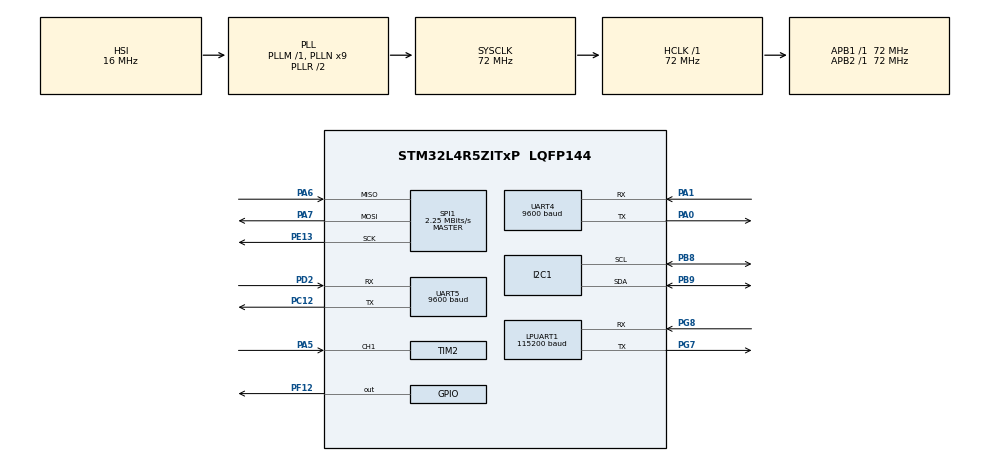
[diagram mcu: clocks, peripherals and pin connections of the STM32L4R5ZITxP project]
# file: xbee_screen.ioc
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FATFS._MAX_SS=4096
FATFS._USE_LFN=1
I2C1.CustomTiming=Disabled
I2C1.Timing=0x10C18DCC
LPUART1.BaudRate=115200
LPUART1.WordLength=UART_WORDLENGTH_8B
Mcu.Family=STM32L4
Mcu.Name=STM32L4R5ZITxP
Mcu.Package=LQFP144
NVIC.PriorityGroup=NVIC_PRIORITYGROUP_4
NVIC.UART4_IRQn=true\:0\:0\:false\:false\:true\:true\:true\:true
NVIC.UART5_IRQn=true\:0\:0\:false\:false\:true\:true\:true\:true
PA0.Mode=Asynchronous
PA0.Signal=UART4_TX
PA1.Mode=Asynchronous
PA1.Signal=UART4_RX
PA5.Signal=S_TIM2_CH1
PA6.Mode=Full_Duplex_Master
PA6.Signal=SPI1_MISO
PA7.Mode=Full_Duplex_Master
PA7.Signal=SPI1_MOSI
PB8.Mode=I2C
PB8.Signal=I2C1_SCL
PB9.Mode=I2C
PB9.Signal=I2C1_SDA
PC12.Mode=Asynchronous
PC12.Signal=UART5_TX
PC14-OSC32_IN\ (PC14).Mode=LSE-External-Oscillator
PC14-OSC32_IN\ (PC14).Signal=RCC_OSC32_IN
PC15-OSC32_OUT\ (PC15).Mode=LSE-External-Oscillator
PC15-OSC32_OUT\ (PC15).Signal=RCC_OSC32_OUT
PD2.Mode=Asynchronous
PD2.Signal=UART5_RX
PE13.Mode=Full_Duplex_Master
PE13.Signal=SPI1_SCK
PF12.Signal=GPIO_Output
PG7.Mode=Asynchronous
PG7.Signal=LPUART1_TX
PG8.Mode=Asynchronous
PG8.Signal=LPUART1_RX
PH0-OSC_IN\ (PH0).Mode=HSE-External-Oscillator
PH0-OSC_IN\ (PH0).Signal=RCC_OSC_IN
PH1-OSC_OUT\ (PH1).Mode=HSE-External-Oscillator
PH1-OSC_OUT\ (PH1).Signal=RCC_OSC_OUT
ProjectManager.HeapSize=0x200
ProjectManager.StackSize=0x400
ProjectManager.TargetToolchain=STM32CubeIDE
RCC.ADCFreq_Value=192000000
RCC.AHBFreq_Value=72000000
RCC.APB1Freq_Value=72000000
RCC.APB1TimFreq_Value=72000000
RCC.APB2Freq_Value=72000000
RCC.APB2TimFreq_Value=72000000
RCC.CortexFreq_Value=72000000
RCC.HCLKFreq_Value=72000000
RCC.HSE_VALUE=8000000
RCC.HSI48_VALUE=48000000
RCC.HSI_VALUE=16000000
RCC.MSIClockRange=RCC_MSIRANGE_9
RCC.MSI_VALUE=24000000
RCC.PLLN=9
RCC.PLLSAI1N=24
RCC.PLLSourceVirtual=RCC_PLLSOURCE_HSI
RCC.SYSCLKFreq_VALUE=72000000
RCC.SYSCLKSource=RCC_SYSCLKSOURCE_PLLCLK
RCC.USBFreq_Value=192000000
RCC.VCOOutputFreq_Value=144000000
SH.S_TIM2_CH1.0=TIM2_CH1,Input_Capture1_from_TI1
SPI1.BaudRatePrescaler=SPI_BAUDRATEPRESCALER_32
SPI1.CalculateBaudRate=2.25 MBits/s
SPI1.DataSize=SPI_DATASIZE_8BIT
SPI1.Direction=SPI_DIRECTION_2LINES
SPI1.Mode=SPI_MODE_MASTER
SPI1.VirtualType=VM_MASTER
TIM2.Channel-Input_Capture1_from_TI1=TIM_CHANNEL_1
TIM3.Channel-PWM\ Generation1\ No\ Output=TIM_CHANNEL_1
UART4.BaudRate=9600
UART5.BaudRate=9600
VP_FATFS_VS_Generic.Mode=User_defined
VP_TIM3_VS_no_output1.Mode=PWM Generation1 No Output
board=NUCLEO-L4R5ZI-P

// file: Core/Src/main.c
/* USER CODE BEGIN Header */
/**
  ******************************************************************************
  * @file           : main.c
  * @brief          : Main program body
  ******************************************************************************
  * @attention
  *
  * Copyright (c) 2025 STMicroelectronics.
  * All rights reserved.
  *
  * This software is licensed under terms that can be found in the LICENSE file
  * in the root directory of this software component.
  * If no LICENSE file comes with this software, it is provided AS-IS.
  *
  ******************************************************************************
  */
/* USER CODE END Header */
#include "main.h"
#include "fatfs.h"

/* USER CODE BEGIN Includes */
#include "stdio.h"
#include "math.h"
#include "string.h"
#include "fonts.h"
#include "oled_driver.h"
/* USER CODE END Includes */

I2C_HandleTypeDef hi2c1;

UART_HandleTypeDef hlpuart1;
UART_HandleTypeDef huart4;
UART_HandleTypeDef huart5;

SPI_HandleTypeDef hspi1;

TIM_HandleTypeDef htim2;
TIM_HandleTypeDef htim3;

/* USER CODE BEGIN PV */
uint8_t uart_buffer[32];
uint8_t xbee_buffer[32];
uint8_t xbee_int_buf[2];
volatile uint8_t xbee_int_ready = 0;
uint8_t r = 0;
static ledFrame;
char TxBuffer[250];
/* USER CODE END PV */

void SystemClock_Config(void);
static void MX_GPIO_Init(void);
static void MX_LPUART1_UART_Init(void);
static void MX_TIM2_Init(void);
static void MX_UART4_Init(void);
static void MX_UART5_Init(void);
static void MX_I2C1_Init(void);
static void MX_TIM3_Init(void);
static void MX_SPI1_Init(void);

/* USER CODE BEGIN 0 */

void MX_NVIC_Init(void)
{
    HAL_NVIC_SetPriority(UART5_IRQn, 0, 0);
    HAL_NVIC_EnableIRQ(UART5_IRQn);
}

int xbee_readline(char *buf, int maxlen)
{
    int i = 0;
    uint8_t ch;
    while (i < maxlen - 1) {
        if (HAL_UART_Receive(&huart5, &ch, 1, 500) != HAL_OK) {
            break;  // timeout
        }
        buf[i++] = ch;
        if (ch == '\r' || ch == '\n') break;
    }
    buf[i] = '\0';
    return i;
}

void xbee_send(const char* cmd) {
	HAL_UART_Transmit(&huart5, (uint8_t*)cmd, strlen(cmd), 100);
	HAL_UART_Transmit(&huart5, (uint8_t*)"\r", 1, 100);
}

uint8_t xbee_enter_command(void)
{
    uint8_t resp[8];
    HAL_StatusTypeDef st;
//    HAL_UART_AbortReceive(&huart5);
    HAL_Delay(1000);   // guard time before
    HAL_UART_Transmit(&huart5, (uint8_t*)"+++", 3, 100);
    HAL_Delay(1000);   // guard time after
    // XBee should respond with "OK\r"
    st = HAL_UART_Receive(&huart5, resp, 3, 1000);  // read 3 bytes

    printf("enter cmd resp: st=%d, bytes=%02X %02X %02X\r\n",
           st, resp[0], resp[1], resp[2]);
    // check for "OK\r"
    if (st == HAL_OK && resp[0] == 'O' && resp[1] == 'K')
        return 1;
    else
        return 0;
}

void OLED_Circle(int x0, int y0, int r, OLED_COLOR color)
{
    int x = r;
    int y = 0;
    int err = 0;

    while (x >= y)
    {
        // Draw horizontal spans instead of single pixels
        for (int i = x0 - x; i <= x0 + x; i++) {
            OLED_DrawPixel(i, y0 + y, color);
            OLED_DrawPixel(i, y0 - y, color);
        }
        for (int i = x0 - y; i <= x0 + y; i++) {
            OLED_DrawPixel(i, y0 + x, color);
            OLED_DrawPixel(i, y0 - x, color);
        }

        y++;

        if (err <= 0)
        {
            err += 2*y + 1;
        }
        if (err > 0)
        {
            x--;
            err -= 2*x + 1;
        }
    }
}

void OLED_Square(uint8_t x, uint8_t y, uint8_t size, OLED_COLOR color)
{
    // Prevent drawing outside the display
    if (x >= OLED_WIDTH || y >= OLED_HEIGHT) return;

    for (uint8_t i = 0; i < size; i++) {
        for (uint8_t j = 0; j < size; j++) {
            uint8_t px = x + j;
            uint8_t py = y + i;

            if (px < OLED_WIDTH && py < OLED_HEIGHT) {
                OLED_DrawPixel(px, py, color);
            }
        }
    }
}

void xbee_router_setup() {
	if(xbee_enter_command()) {
		xbee_send("ATID 2222");
		xbee_send("ATCH 17");
		xbee_send("ATMY 2");
		xbee_send("ATDL 1");
		xbee_send("ATWR");
		xbee_send("ATCN");
	}
	else {
		printf("xbee router setup failed! \r\n");
	}
}

void HAL_UART_RxCpltCallback(UART_HandleTypeDef *huart) {
    if (huart == &huart5) {
        xbee_int_ready = 1;
    }
    // Restart reception IMMEDIATELY
    if (HAL_UART_Receive_IT(&huart5, uart_buffer, 32) != HAL_OK) {
        printf("Failed to restart UART reception!\n");
    }

}

void HAL_UART_ErrorCallback(UART_HandleTypeDef *huart)
{
    if (huart == &huart5) {
    	HAL_UART_Receive_IT(&huart5, uart_buffer, 32);
    }
}

static void SD_Card_Test(void)
{
  FATFS FatFs;
  FIL Fil;
  FRESULT FR_Status;
  FATFS *FS_Ptr;
  UINT RWC, WWC; // Read/Write Word Counter
  DWORD FreeClusters;
  uint32_t TotalSize, FreeSpace;
  char RW_Buffer[200];
  do
  {
    //------------------[ Mount The SD Card ]--------------------
    FR_Status = f_mount(&FatFs, "", 1);
    if (FR_Status != FR_OK)
    {
      printf("Error! While Mounting SD Card, Error Code: (%i)\r\n", FR_Status);
      break;
    }
    printf("SD Card Mounted Successfully! \r\n\n");
//    UART_Print(TxBuffer);
    //------------------[ Get & Print The SD Card Size & Free Space ]--------------------
    f_getfree("", &FreeClusters, &FS_Ptr);
    TotalSize = (uint32_t)((FS_Ptr->n_fatent - 2) * FS_Ptr->csize * 0.5);
    FreeSpace = (uint32_t)(FreeClusters * FS_Ptr->csize * 0.5);
    printf("Total SD Card Size: %lu Bytes\r\n", TotalSize);
    printf("Free SD Card Space: %lu Bytes\r\n\n", FreeSpace);
//    UART_Print(TxBuffer);
    //------------------[ Open A Text File For Write & Write Data ]--------------------
    //Open the file
    FR_Status = f_open(&Fil, "TextFileWrite.txt", FA_WRITE | FA_READ | FA_CREATE_ALWAYS);
    if(FR_Status != FR_OK)
    {
      printf("Error! While Creating/Opening A New Text File, Error Code: (%i)\r\n", FR_Status);
//      UART_Print(TxBuffer);
      break;
    }
    printf("Text File Created & Opened! Writing Data To The Text File..\r\n\n");
    // (1) Write Data To The Text File [ Using f_puts() Function ]
    f_puts("Hello! From STM32 To SD Card Over SPI, Using f_puts()\n", &Fil);
    // (2) Write Data To The Text File [ Using f_write() Function ]
    strcpy(RW_Buffer, "Hello! From STM32 To SD Card Over SPI, Using f_write()\r\n");
    f_write(&Fil, RW_Buffer, strlen(RW_Buffer), &WWC);
    // Close The File
    f_close(&Fil);
    //------------------[ Open A Text File For Read & Read Its Data ]--------------------
    // Open The File
    FR_Status = f_open(&Fil, "TextFileWrite.txt", FA_READ);
    if(FR_Status != FR_OK)
    {
      printf("Error! While Opening (TextFileWrite.txt) File For Read.. \r\n");
      break;
    }
    // (1) Read The Text File's Data [ Using f_gets() Function ]
    f_gets(RW_Buffer, sizeof(RW_Buffer), &Fil);
    printf("Data Read From (TextFileWrite.txt) Using f_gets():%s", RW_Buffer);
    // (2) Read The Text File's Data [ Using f_read() Function ]
    f_read(&Fil, RW_Buffer, f_size(&Fil), &RWC);
    printf("Data Read From (TextFileWrite.txt) Using f_read():%s", RW_Buffer);
    // Close The File
    f_close(&Fil);
    printf(TxBuffer, "File Closed! \r\n\n");
    //------------------[ Open An Existing Text File, Update Its Content, Read It Back ]--------------------
    // (1) Open The Existing File For Write (Update)
    FR_Status = f_open(&Fil, "TextFileWrite.txt", FA_OPEN_EXISTING | FA_WRITE);
    FR_Status = f_lseek(&Fil, f_size(&Fil)); // Move The File Pointer To The EOF (End-Of-File)
    if(FR_Status != FR_OK)
    {
      printf("Error! While Opening (TextFileWrite.txt) File For Update.. \r\n");
      break;
    }
    // (2) Write New Line of Text Data To The File
    FR_Status = f_puts("This New Line Was Added During Update!\r\n", &Fil);
    f_close(&Fil);
    memset(RW_Buffer,'\0',sizeof(RW_Buffer)); // Clear The Buffer
    // (3) Read The Contents of The Text File After The Update
    FR_Status = f_open(&Fil, "TextFileWrite.txt", FA_READ); // Open The File For Read
    f_read(&Fil, RW_Buffer, f_size(&Fil), &RWC);
    printf("Data Read From (TextFileWrite.txt) After Update:%s", RW_Buffer);
    f_close(&Fil);
    //------------------[ Delete The Text File ]--------------------
    // Delete The File
    /*
    FR_Status = f_unlink(TextFileWrite.txt);
    if (FR_Status != FR_OK){
        sprintf(TxBuffer, "Error! While Deleting The (TextFileWrite.txt) File.. \r\n");
        UART_Print(TxBuffer);
    }
    */
  } while(0);
  //------------------[ Test Complete! Unmount The SD Card ]--------------------
  FR_Status = f_mount(NULL, "", 0);
  if (FR_Status != FR_OK)
  {
      printf("Error! While Un-mounting SD Card, Error Code: (%i)\r\n", FR_Status);
  } else{
      printf("SD Card Un-mounted Successfully! \r\n");
  }
}
/* USER CODE END 0 */

int main(void)
{

  /* MCU Configuration--------------------------------------------------------*/

  /* Reset of all peripherals, Initializes the Flash interface and the Systick. */
  HAL_Init();

  /* Configure the system clock */
  SystemClock_Config();

  /* USER CODE BEGIN SysInit */
  MX_NVIC_Init();
  /* USER CODE END SysInit */

  /* Initialize all configured peripherals */
  MX_GPIO_Init();
  MX_LPUART1_UART_Init();
  MX_TIM2_Init();
  MX_UART4_Init();
  MX_UART5_Init();
  MX_I2C1_Init();
  MX_TIM3_Init();
  MX_FATFS_Init();
  MX_SPI1_Init();
  /* USER CODE BEGIN 2 */
  HAL_Delay(1000);
  xbee_router_setup();
  HAL_Delay(1000);
  SD_Card_Test();
  // Init lcd using one of the stm32HAL i2c typedefs
  if (OLED_Init(&hi2c1) != 0) {
    Error_Handler();
  }
  HAL_Delay(100);

  OLED_Fill(Black);
  OLED_UpdateScreen(&hi2c1);

  HAL_Delay(1000);

  // Write data to local screenbuffer
  OLED_SetCursor(0, 0);
  OLED_WriteString("Initialization000000000000000000000", Font_7x10, White);
  OLED_SetCursor(0, 10);
  OLED_WriteString("Done >:)000000000000000000000000000", Font_7x10, White);
  OLED_SetCursor(0, 20);
  OLED_WriteString("3rd line000000000000000000000000000", Font_7x10, White);
  OLED_SetCursor(0, 30);
  OLED_WriteString("4rd line000000000000000000000000000", Font_7x10, White);
  OLED_SetCursor(0, 40);
  OLED_WriteString("5th line000000000000000000000000000", Font_7x10, White);
  OLED_SetCursor(0, 50);
  OLED_WriteString("6th line000000000000000000000000000", Font_7x10, White);
  OLED_SetCursor(0, 60);
  OLED_WriteString("7th line000000000000000000000000000", Font_7x10, White);
  OLED_SetCursor(0, 70);
  OLED_WriteString("8th line000000000000000000000000000", Font_7x10, White);
  OLED_SetCursor(0, 80);
  OLED_WriteString("9th line000000000000000000000000000", Font_7x10, White);

//  OLED_UpdateScreen(&hi2c1);
//  OLED_SetCursor(0, 36);
//  OLED_WriteString("Recheck", Font_11x18, White);

//  // Draw rectangle on screen
//  for (uint8_t i=0; i<28; i++) {
//      for (uint8_t j=0; j<64; j++) {
//          OLED_DrawPixel(100+i, 0+j, White);
//      }
//  }

  // Copy all data from local screenbuffer to the screen
  HAL_Delay(100);
  OLED_UpdateScreen(&hi2c1);

  HAL_UART_Receive_IT(&huart5, uart_buffer, 32);
  HAL_Delay(100);
  /* USER CODE END 2 */

  /* Infinite loop */
  while (1)
  {

    /* USER CODE BEGIN 3 */
//	printf("left: %d, right: %d\r\n", uart_buffer[0], uart_buffer[1]);
//	for(uint8_t i = 0; i < 16; i++){
//		OLED_SetCursor(0, 15 * i);
//		fprintf("IR Sensor %d: %d/r/n", i, uart_buffer[i]);
//		snprintf(xbee_buffer, sizeof(xbee_buffer), "IR Sensor %d: %d", i, uart_buffer[i]);
//		OLED_WriteString(xbee_buffer, Font_7x10, White);
//	}
	  OLED_Fill(Black);

	 if(xbee_int_ready){
		 xbee_int_ready = 0;
//	         Print your data
		for (int i = 0; i < 32; i++) {
			uint8_t byte = uart_buffer[i];
			int val1 = (byte >> 4) & 0x0F;  // Upper 4 bits
			int val2 = byte & 0x0F;         // Lower 4 bits

			printf("%d %d  ", (byte >> 4) & 0x0F, byte & 0x0F);
			if (i % 4 == 3) printf("\n\r");

			// Convert to 8x8 grid positions
			int grid_index = i * 2;         // 0-63 (64 total values)
			int row = grid_index / 8;       // 0-7 (8 rows)
			int col = grid_index % 8;       // 0-7 (8 columns)

			// First value
			int radius1 = val1 / 4 + 1;     // Scale 0-15 to radius 1-8
			if(radius1 < 3){
				radius1 = 0;
			}
			OLED_Square(col * 8 + 8, row * 8 + 4, radius1, White);

			// Second value (next column)
			int grid_index2 = grid_index + 1;
			int row2 = grid_index2 / 8;
			int col2 = grid_index2 % 8;
			int radius2 = val2 / 4 + 1;
			if(radius2 < 3){
				radius2 = 0;
			}
			OLED_Square(col2 * 8 + 8, row2 * 8 + 4, radius2, White);

		}
		OLED_UpdateScreen(&hi2c1);
		printf("-----------\n\r");

		//		  OLED_SetCursor(0, 0);

	 }

//	 OLED_Circle(128/2, 64/2, r, White);
//
//	 if(r == 32) {
//		 OLED_Fill(Black);
//		 r = 0;
//		 OLED_SetCursor(50, 20);
//		 OLED_WriteString("POP!", Font_11x18, White);
//	 }
//	 r++;

	//HAL_MAX_DELAY

    HAL_Delay(10);  // Check for new data every second
  }
  /* USER CODE END 3 */
}

void SystemClock_Config(void)
{
  RCC_OscInitTypeDef RCC_OscInitStruct = {0};
  RCC_ClkInitTypeDef RCC_ClkInitStruct = {0};

  /** Configure the main internal regulator output voltage
  */
  if (HAL_PWREx_ControlVoltageScaling(PWR_REGULATOR_VOLTAGE_SCALE1) != HAL_OK)
  {
    Error_Handler();
  }

  /** Initializes the RCC Oscillators according to the specified parameters
  * in the RCC_OscInitTypeDef structure.
  */
  RCC_OscInitStruct.OscillatorType = RCC_OSCILLATORTYPE_HSI;
  RCC_OscInitStruct.HSIState = RCC_HSI_ON;
  RCC_OscInitStruct.HSICalibrationValue = RCC_HSICALIBRATION_DEFAULT;
  RCC_OscInitStruct.PLL.PLLState = RCC_PLL_ON;
  RCC_OscInitStruct.PLL.PLLSource = RCC_PLLSOURCE_HSI;
  RCC_OscInitStruct.PLL.PLLM = 1;
  RCC_OscInitStruct.PLL.PLLN = 9;
  RCC_OscInitStruct.PLL.PLLP = RCC_PLLP_DIV2;
  RCC_OscInitStruct.PLL.PLLQ = RCC_PLLQ_DIV2;
  RCC_OscInitStruct.PLL.PLLR = RCC_PLLR_DIV2;
  if (HAL_RCC_OscConfig(&RCC_OscInitStruct) != HAL_OK)
  {
    Error_Handler();
  }

  /** Initializes the CPU, AHB and APB buses clocks
  */
  RCC_ClkInitStruct.ClockType = RCC_CLOCKTYPE_HCLK|RCC_CLOCKTYPE_SYSCLK
                              |RCC_CLOCKTYPE_PCLK1|RCC_CLOCKTYPE_PCLK2;
  RCC_ClkInitStruct.SYSCLKSource = RCC_SYSCLKSOURCE_PLLCLK;
  RCC_ClkInitStruct.AHBCLKDivider = RCC_SYSCLK_DIV1;
  RCC_ClkInitStruct.APB1CLKDivider = RCC_HCLK_DIV1;
  RCC_ClkInitStruct.APB2CLKDivider = RCC_HCLK_DIV1;

  if (HAL_RCC_ClockConfig(&RCC_ClkInitStruct, FLASH_LATENCY_3) != HAL_OK)
  {
    Error_Handler();
  }
}

static void MX_I2C1_Init(void)
{

  hi2c1.Instance = I2C1;
  hi2c1.Init.Timing = 0x10C18DCC;
  hi2c1.Init.OwnAddress1 = 0;
  hi2c1.Init.AddressingMode = I2C_ADDRESSINGMODE_7BIT;
  hi2c1.Init.DualAddressMode = I2C_DUALADDRESS_DISABLE;
  hi2c1.Init.OwnAddress2 = 0;
  hi2c1.Init.OwnAddress2Masks = I2C_OA2_NOMASK;
  hi2c1.Init.GeneralCallMode = I2C_GENERALCALL_DISABLE;
  hi2c1.Init.NoStretchMode = I2C_NOSTRETCH_DISABLE;
  if (HAL_I2C_Init(&hi2c1) != HAL_OK)
  {
    Error_Handler();
  }

  /** Configure Analogue filter
  */
  if (HAL_I2CEx_ConfigAnalogFilter(&hi2c1, I2C_ANALOGFILTER_ENABLE) != HAL_OK)
  {
    Error_Handler();
  }

  /** Configure Digital filter
  */
  if (HAL_I2CEx_ConfigDigitalFilter(&hi2c1, 0) != HAL_OK)
  {
    Error_Handler();
  }

}

static void MX_LPUART1_UART_Init(void)
{

  hlpuart1.Instance = LPUART1;
  hlpuart1.Init.BaudRate = 115200;
  hlpuart1.Init.WordLength = UART_WORDLENGTH_8B;
  hlpuart1.Init.StopBits = UART_STOPBITS_1;
  hlpuart1.Init.Parity = UART_PARITY_NONE;
  hlpuart1.Init.Mode = UART_MODE_TX_RX;
  hlpuart1.Init.HwFlowCtl = UART_HWCONTROL_NONE;
  hlpuart1.Init.OneBitSampling = UART_ONE_BIT_SAMPLE_DISABLE;
  hlpuart1.Init.ClockPrescaler = UART_PRESCALER_DIV1;
  hlpuart1.AdvancedInit.AdvFeatureInit = UART_ADVFEATURE_NO_INIT;
  hlpuart1.FifoMode = UART_FIFOMODE_DISABLE;
  if (HAL_UART_Init(&hlpuart1) != HAL_OK)
  {
    Error_Handler();
  }
  if (HAL_UARTEx_SetTxFifoThreshold(&hlpuart1, UART_TXFIFO_THRESHOLD_1_8) != HAL_OK)
  {
    Error_Handler();
  }
  if (HAL_UARTEx_SetRxFifoThreshold(&hlpuart1, UART_RXFIFO_THRESHOLD_1_8) != HAL_OK)
  {
    Error_Handler();
  }
  if (HAL_UARTEx_DisableFifoMode(&hlpuart1) != HAL_OK)
  {
    Error_Handler();
  }

}

static void MX_UART4_Init(void)
{

  huart4.Instance = UART4;
  huart4.Init.BaudRate = 9600;
  huart4.Init.WordLength = UART_WORDLENGTH_8B;
  huart4.Init.StopBits = UART_STOPBITS_1;
  huart4.Init.Parity = UART_PARITY_NONE;
  huart4.Init.Mode = UART_MODE_TX_RX;
  huart4.Init.HwFlowCtl = UART_HWCONTROL_NONE;
  huart4.Init.OverSampling = UART_OVERSAMPLING_16;
  huart4.Init.OneBitSampling = UART_ONE_BIT_SAMPLE_DISABLE;
  huart4.Init.ClockPrescaler = UART_PRESCALER_DIV1;
  huart4.AdvancedInit.AdvFeatureInit = UART_ADVFEATURE_NO_INIT;
  if (HAL_UART_Init(&huart4) != HAL_OK)
  {
    Error_Handler();
  }
  if (HAL_UARTEx_SetTxFifoThreshold(&huart4, UART_TXFIFO_THRESHOLD_1_8) != HAL_OK)
  {
    Error_Handler();
  }
  if (HAL_UARTEx_SetRxFifoThreshold(&huart4, UART_RXFIFO_THRESHOLD_1_8) != HAL_OK)
  {
    Error_Handler();
  }
  if (HAL_UARTEx_DisableFifoMode(&huart4) != HAL_OK)
  {
    Error_Handler();
  }

}

static void MX_UART5_Init(void)
{

  huart5.Instance = UART5;
  huart5.Init.BaudRate = 9600;
  huart5.Init.WordLength = UART_WORDLENGTH_8B;
  huart5.Init.StopBits = UART_STOPBITS_1;
  huart5.Init.Parity = UART_PARITY_NONE;
  huart5.Init.Mode = UART_MODE_TX_RX;
  huart5.Init.HwFlowCtl = UART_HWCONTROL_NONE;
  huart5.Init.OverSampling = UART_OVERSAMPLING_16;
  huart5.Init.OneBitSampling = UART_ONE_BIT_SAMPLE_DISABLE;
  huart5.Init.ClockPrescaler = UART_PRESCALER_DIV1;
  huart5.AdvancedInit.AdvFeatureInit = UART_ADVFEATURE_NO_INIT;
  if (HAL_UART_Init(&huart5) != HAL_OK)
  {
    Error_Handler();
  }
  if (HAL_UARTEx_SetTxFifoThreshold(&huart5, UART_TXFIFO_THRESHOLD_1_8) != HAL_OK)
  {
    Error_Handler();
  }
  if (HAL_UARTEx_SetRxFifoThreshold(&huart5, UART_RXFIFO_THRESHOLD_1_8) != HAL_OK)
  {
    Error_Handler();
  }
  if (HAL_UARTEx_DisableFifoMode(&huart5) != HAL_OK)
  {
    Error_Handler();
  }

}

static void MX_SPI1_Init(void)
{

  /* SPI1 parameter configuration*/
  hspi1.Instance = SPI1;
  hspi1.Init.Mode = SPI_MODE_MASTER;
  hspi1.Init.Direction = SPI_DIRECTION_2LINES;
  hspi1.Init.DataSize = SPI_DATASIZE_8BIT;
  hspi1.Init.CLKPolarity = SPI_POLARITY_LOW;
  hspi1.Init.CLKPhase = SPI_PHASE_1EDGE;
  hspi1.Init.NSS = SPI_NSS_SOFT;
  hspi1.Init.BaudRatePrescaler = SPI_BAUDRATEPRESCALER_32;
  hspi1.Init.FirstBit = SPI_FIRSTBIT_MSB;
  hspi1.Init.TIMode = SPI_TIMODE_DISABLE;
  hspi1.Init.CRCCalculation = SPI_CRCCALCULATION_DISABLE;
  hspi1.Init.CRCPolynomial = 7;
  hspi1.Init.CRCLength = SPI_CRC_LENGTH_DATASIZE;
  hspi1.Init.NSSPMode = SPI_NSS_PULSE_ENABLE;
  if (HAL_SPI_Init(&hspi1) != HAL_OK)
  {
    Error_Handler();
  }

}

static void MX_TIM2_Init(void)
{

  TIM_MasterConfigTypeDef sMasterConfig = {0};
  TIM_IC_InitTypeDef sConfigIC = {0};

  htim2.Instance = TIM2;
  htim2.Init.Prescaler = 0;
  htim2.Init.CounterMode = TIM_COUNTERMODE_UP;
  htim2.Init.Period = 4294967295;
  htim2.Init.ClockDivision = TIM_CLOCKDIVISION_DIV1;
  htim2.Init.AutoReloadPreload = TIM_AUTORELOAD_PRELOAD_DISABLE;
  if (HAL_TIM_IC_Init(&htim2) != HAL_OK)
  {
    Error_Handler();
  }
  sMasterConfig.MasterOutputTrigger = TIM_TRGO_RESET;
  sMasterConfig.MasterSlaveMode = TIM_MASTERSLAVEMODE_DISABLE;
  if (HAL_TIMEx_MasterConfigSynchronization(&htim2, &sMasterConfig) != HAL_OK)
  {
    Error_Handler();
  }
  sConfigIC.ICPolarity = TIM_INPUTCHANNELPOLARITY_RISING;
  sConfigIC.ICSelection = TIM_ICSELECTION_DIRECTTI;
  sConfigIC.ICPrescaler = TIM_ICPSC_DIV1;
  sConfigIC.ICFilter = 0;
  if (HAL_TIM_IC_ConfigChannel(&htim2, &sConfigIC, TIM_CHANNEL_1) != HAL_OK)
  {
    Error_Handler();
  }

}

static void MX_TIM3_Init(void)
{

  TIM_MasterConfigTypeDef sMasterConfig = {0};
  TIM_OC_InitTypeDef sConfigOC = {0};

  htim3.Instance = TIM3;
  htim3.Init.Prescaler = 0;
  htim3.Init.CounterMode = TIM_COUNTERMODE_UP;
  htim3.Init.Period = 65535;
  htim3.Init.ClockDivision = TIM_CLOCKDIVISION_DIV1;
  htim3.Init.AutoReloadPreload = TIM_AUTORELOAD_PRELOAD_DISABLE;
  if (HAL_TIM_PWM_Init(&htim3) != HAL_OK)
  {
    Error_Handler();
  }
  sMasterConfig.MasterOutputTrigger = TIM_TRGO_RESET;
  sMasterConfig.MasterSlaveMode = TIM_MASTERSLAVEMODE_DISABLE;
  if (HAL_TIMEx_MasterConfigSynchronization(&htim3, &sMasterConfig) != HAL_OK)
  {
    Error_Handler();
  }
  sConfigOC.OCMode = TIM_OCMODE_PWM1;
  sConfigOC.Pulse = 0;
  sConfigOC.OCPolarity = TIM_OCPOLARITY_HIGH;
  sConfigOC.OCFastMode = TIM_OCFAST_DISABLE;
  if (HAL_TIM_PWM_ConfigChannel(&htim3, &sConfigOC, TIM_CHANNEL_1) != HAL_OK)
  {
    Error_Handler();
  }

}

static void MX_GPIO_Init(void)
{
  GPIO_InitTypeDef GPIO_InitStruct = {0};

  /* GPIO Ports Clock Enable */
  __HAL_RCC_GPIOC_CLK_ENABLE();
  __HAL_RCC_GPIOH_CLK_ENABLE();
  __HAL_RCC_GPIOA_CLK_ENABLE();
  __HAL_RCC_GPIOF_CLK_ENABLE();
  __HAL_RCC_GPIOE_CLK_ENABLE();
  __HAL_RCC_GPIOG_CLK_ENABLE();
  HAL_PWREx_EnableVddIO2();
  __HAL_RCC_GPIOD_CLK_ENABLE();
  __HAL_RCC_GPIOB_CLK_ENABLE();

  /*Configure GPIO pin Output Level */
  HAL_GPIO_WritePin(GPIOF, GPIO_PIN_12, GPIO_PIN_RESET);

  /*Configure GPIO pin : PF12 */
  GPIO_InitStruct.Pin = GPIO_PIN_12;
  GPIO_InitStruct.Mode = GPIO_MODE_OUTPUT_PP;
  GPIO_InitStruct.Pull = GPIO_NOPULL;
  GPIO_InitStruct.Speed = GPIO_SPEED_FREQ_LOW;
  HAL_GPIO_Init(GPIOF, &GPIO_InitStruct);

}

/* USER CODE BEGIN 4 */
#ifdef __GNUC__
#define PUTCHAR_PROTOTYPE int __io_putchar(int ch)
#else
  #define PUTCHAR_PROTOTYPE int fputc(int ch, FILE *f)
#endif /* __GNUC__ */
PUTCHAR_PROTOTYPE
{
  HAL_UART_Transmit(&hlpuart1, (uint8_t *)&ch, 1, 0xFFFF);
  return ch;
}
/* USER CODE END 4 */

void Error_Handler(void)
{
  __disable_irq();
  while (1)
  {
  }
}
